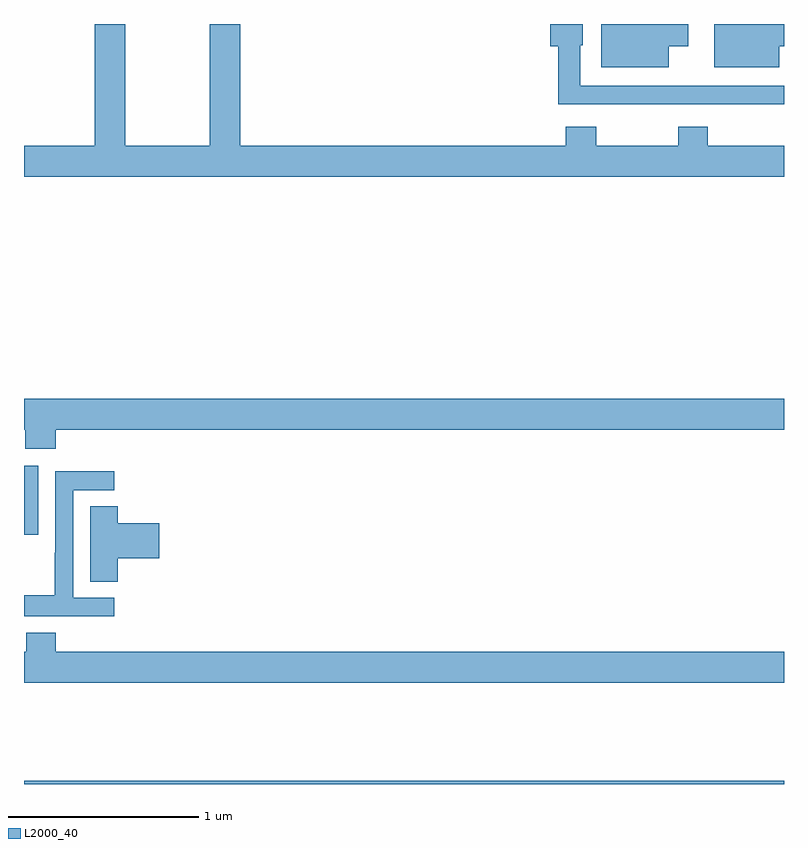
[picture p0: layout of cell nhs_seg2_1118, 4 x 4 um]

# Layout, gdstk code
import gdstk
lib = gdstk.Library(unit=1e-6, precision=1e-09)
def R(c, l, rs):  # rectangles x0, y0, x1, y1
    for r in rs: c.add(gdstk.rectangle(r[:2], r[2:], *l))
def P(c, l, *ps):  # polygons
    for p in ps: c.add(gdstk.Polygon(p, *l))
L2000_40 = (2000, 40)

nhs_seg2_1118 = lib.new_cell('nhs_seg2_1118')
R(nhs_seg2_1118, L2000_40, [(169,617.8,173,617.816), (169,619.113,169.075,619.474)])
P(nhs_seg2_1118, L2000_40, [(173,621.16),(172.599,621.16),(172.599,621.259),(172.444,621.259),(172.444,621.16),(172.011,621.16),(172.011,621.259),(171.851,621.259),(171.851,621.16),(170.138,621.16),(170.138,621.8),(169.978,621.8),(169.978,621.16),(169.533,621.16),(169.533,621.8),(169.373,621.8),(169.373,621.16),(169,621.16),(169,620.996),(173,620.996)],
  [(172.393,621.683),(172.495,621.683),(172.495,621.8),(172.037,621.8),(172.037,621.572),(172.393,621.572)],
  [(172.975,621.683),(173,621.683),(173,621.8),(172.634,621.8),(172.634,621.572),(172.975,621.572)],
  [(172.355,621.378),(172.687,621.378),(172.687,621.377),(172.964,621.377),(172.964,621.378),(173,621.378),(173,621.474),(171.927,621.474),(171.927,621.687),(171.94,621.687),(171.94,621.8),(171.77,621.8),(171.77,621.683),(171.811,621.683),(171.811,621.378),(172.099,621.378),(172.099,621.377),(172.355,621.377)],
  [(169.166,619.664),(173,619.664),(173,619.828),(169,619.828),(169,619.664),(169.006,619.664),(169.006,619.565),(169.166,619.565)],
  [(169.474,618.78),(169.26,618.78),(169.26,619.347),(169.474,619.347),(169.474,619.446),(169.164,619.446),(169.164,619.016),(169.162,619.016),(169.162,618.793),(169,618.793),(169,618.684),(169.474,618.684)],
  [(169.493,618.989),(169.711,618.989),(169.711,619.172),(169.493,619.172),(169.493,619.262),(169.349,619.262),(169.349,618.865),(169.493,618.865)],
  [(173,618.496),(169.166,618.496),(169.166,618.595),(169.013,618.595),(169.013,618.496),(169,618.496),(169,618.332),(173,618.332)])

lib.write_gds('nhs_seg2_1118.gds')
